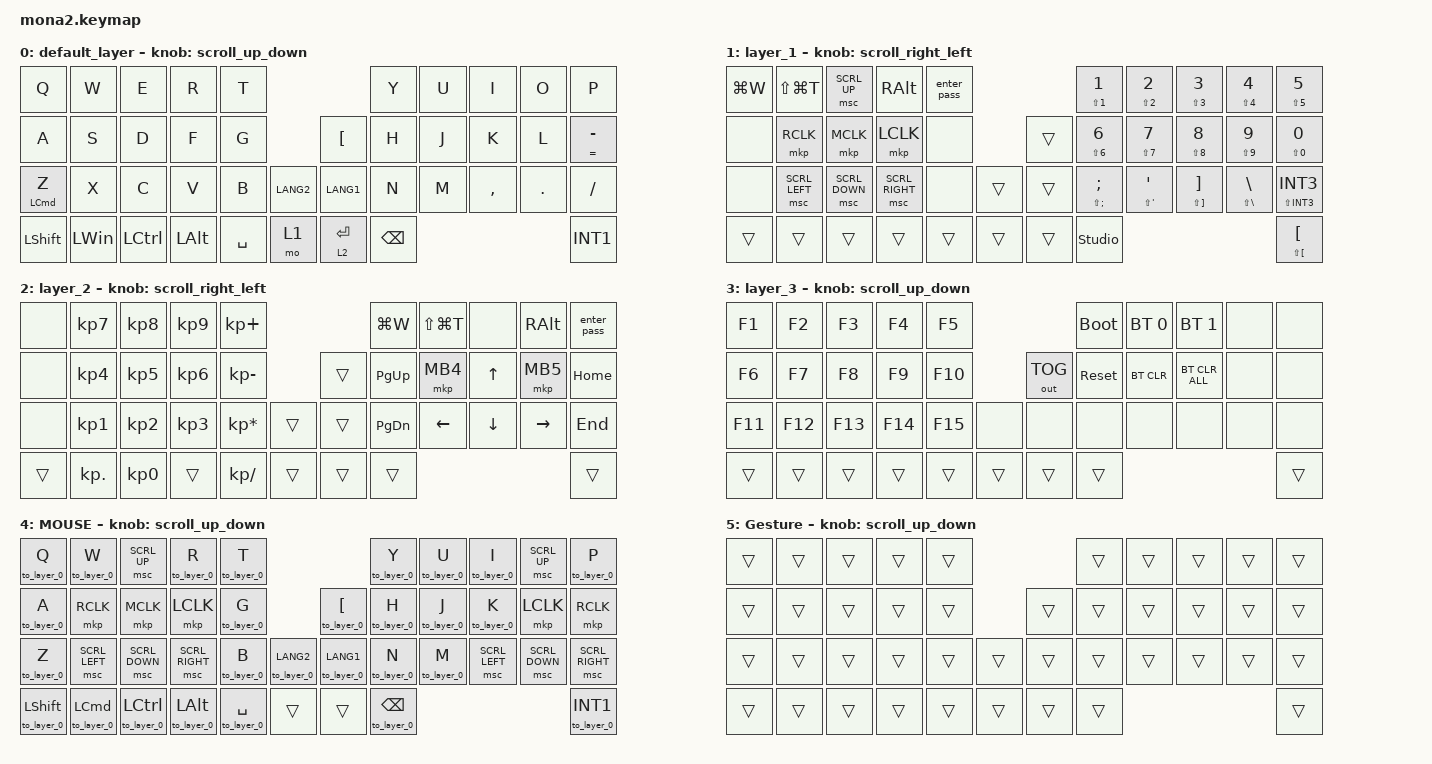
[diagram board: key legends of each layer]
#include <input/processors.dtsi>
#include <dt-bindings/zmk/input_transform.h>
#include <zephyr/dt-bindings/input/input-event-codes.h>
#include <behaviors.dtsi>
#include <dt-bindings/zmk/bt.h>
#include <dt-bindings/zmk/keys.h>
#include <dt-bindings/zmk/outputs.h>
#include <dt-bindings/zmk/pointing.h>

#define ZMK_POINTING_DEFAULT_SCRL_VAL 100
#define MOUSE 4
#define GESTURE 5

&mt {
    flavor = "tap-preferred";
    quick-tap-ms = <0>;
    tapping-term-ms = <150>;
};

&lt {
    quick-tap-ms = <300>;
    flavor = "tap-preferred";
};

/ {
    combos {
        compatible = "zmk,combos";

        layer4_ESC {
            bindings = <&kp ESC>;
            key-positions = <0 1>;
        };

        tab {
            bindings = <&kp TAB>;
            key-positions = <11 10>;
        };

        eisu {
            bindings = <&kp LANG2>;
            key-positions = <24 25>;
        };

        kana {
            bindings = <&kp LANG1>;
            key-positions = <28 29>;
        };

        scroll_layer {
            bindings = <&mo 3>;
            key-positions = <19 20>;
        };

        gesture_layer {
            bindings = <&mo GESTURE>;
            key-positions = <31 32>;
        };
    };

    macros {
        to_layer_0: to_layer_0 {
            compatible = "zmk,behavior-macro-one-param";
            #binding-cells = <1>;
            bindings = <&to 0 &macro_param_1to1 &kp MACRO_PLACEHOLDER>;
            label = "TO_LAYER_0";
        };

        enter_pass: enter_pass {
            compatible = "zmk,behavior-macro";
            #binding-cells = <0>;
            bindings = <&none>; // ENTER_PASS_PH
            label = "ENTER_PASS";
        };
    };

    behaviors {
        lt_to_layer_0: lt_to_layer_0 {
            compatible = "zmk,behavior-hold-tap";
            label = "LAYER_TAP_TO_0";
            bindings = <&mo>, <&to_layer_0>;

            #binding-cells = <2>;
            tapping-term-ms = <200>;
        };

        scroll_up_down: mouse_wheel_up_down {
            compatible = "zmk,behavior-sensor-rotate";
            #sensor-binding-cells = <0>;
            bindings = <&msc SCRL_UP>, <&msc SCRL_DOWN>;

            tap-ms = <20>;
        };

        scroll_right_left: mouse_wheel_right_left {
            compatible = "zmk,behavior-sensor-rotate";
            #sensor-binding-cells = <0>;
            bindings = <&msc SCRL_RIGHT>, <&msc SCRL_LEFT>;

            tap-ms = <20>;
        };
    };

    keymap {
        compatible = "zmk,keymap";

        default_layer {
            bindings = <
&kp Q               &kp W         &kp E             &kp R         &kp T                                           &kp Y          &kp U  &kp I      &kp O    &kp P
&kp A               &kp S         &kp D             &kp F         &kp G                   &kp LBKT                &kp H          &kp J  &kp K      &kp L    &mt EQUAL MINUS
&mt LEFT_COMMAND Z  &kp X         &kp C             &kp V         &kp B      &kp LANG2    &kp LANG1               &kp N          &kp M  &kp COMMA  &kp DOT  &kp SLASH
&kp LEFT_SHIFT      &kp LEFT_WIN  &kp LEFT_CONTROL  &kp LEFT_ALT  &kp SPACE  &mo 1        &lt_to_layer_0 2 ENTER  &kp BACKSPACE                             &kp INT1
            >;

            sensor-bindings = <&scroll_up_down>;
        };

        layer_1 {
            bindings = <
&kp LG(W)  &kp LS(LG(T))   &msc SCRL_UP    &kp RIGHT_ALT    &enter_pass                    &mt LS(N1) N1      &mt LS(N2) N2    &mt LS(N3) N3      &mt LS(N4) N4      &mt LS(N5) N5
&none      &mkp RCLK       &mkp MCLK       &mkp LCLK        &none                  &trans  &mt LS(N6) N6      &mt LS(N7) N7    &mt LS(N8) N8      &mt LS(N9) N9      &mt LS(N0) N0
&none      &msc SCRL_LEFT  &msc SCRL_DOWN  &msc SCRL_RIGHT  &none        &trans    &trans  &mt LS(SEMI) SEMI  &mt LS(SQT) SQT  &mt LS(RBKT) RBKT  &mt LS(BSLH) BSLH  &mt LS(INT3) INT3
&trans     &trans          &trans          &trans           &trans       &trans    &trans  &studio_unlock                                                            &mt LS(LBKT) LBKT
            >;

            sensor-bindings = <&scroll_right_left>;
        };

        layer_2 {
            bindings = <
&none   &kp KP_N7   &kp KP_N8  &kp KP_N9  &kp KP_PLUS                        &kp LG(W)  &kp LS(LG(T))   &none           &kp RIGHT_ALT    &enter_pass
&none   &kp KP_N4   &kp KP_N5  &kp KP_N6  &kp KP_MINUS               &trans  &kp PG_UP  &mkp MB4        &kp UP_ARROW    &mkp MB5         &kp HOME
&none   &kp KP_N1   &kp KP_N2  &kp KP_N3  &kp KP_MULTIPLY  &trans    &trans  &kp PG_DN  &kp LEFT_ARROW  &kp DOWN_ARROW  &kp RIGHT_ARROW  &kp END
&trans  &kp KP_DOT  &kp KP_N0  &trans     &kp KP_SLASH     &trans    &trans  &trans                                                      &trans
            >;

            sensor-bindings = <&scroll_right_left>;
        };

        layer_3 {
            bindings = <
&kp F1   &kp F2   &kp F3   &kp F4   &kp F5                           &bootloader  &bt BT_SEL 0  &bt BT_SEL 1    &none  &none
&kp F6   &kp F7   &kp F8   &kp F9   &kp F10            &out OUT_TOG  &sys_reset   &bt BT_CLR    &bt BT_CLR_ALL  &none  &none
&kp F11  &kp F12  &kp F13  &kp F14  &kp F15  &none     &none         &none        &none         &none           &none  &none
&trans   &trans   &trans   &trans   &trans   &trans    &trans        &trans                                            &trans
            >;

            sensor-bindings = <&scroll_up_down>;
        };

        MOUSE {
            bindings = <
&to_layer_0 Q           &to_layer_0 W             &msc SCRL_UP              &to_layer_0 R         &to_layer_0 T                                              &to_layer_0 Y          &to_layer_0 U  &to_layer_0 I   &msc SCRL_UP    &to_layer_0 P
&to_layer_0 A           &mkp RCLK                 &mkp MCLK                 &mkp LCLK             &to_layer_0 G                           &to_layer_0 LBKT   &to_layer_0 H          &to_layer_0 J  &to_layer_0 K   &mkp LCLK       &mkp RCLK
&to_layer_0 Z           &msc SCRL_LEFT            &msc SCRL_DOWN            &msc SCRL_RIGHT       &to_layer_0 B      &to_layer_0 LANG2    &to_layer_0 LANG1  &to_layer_0 N          &to_layer_0 M  &msc SCRL_LEFT  &msc SCRL_DOWN  &msc SCRL_RIGHT
&to_layer_0 LEFT_SHIFT  &to_layer_0 LEFT_COMMAND  &to_layer_0 LEFT_CONTROL  &to_layer_0 LEFT_ALT  &to_layer_0 SPACE  &trans               &trans             &to_layer_0 BACKSPACE                                                 &to_layer_0 INT1
            >;

            sensor-bindings = <&scroll_up_down>;
        };

        Gesture {
            bindings = <
&trans  &trans  &trans  &trans  &trans                    &trans  &trans  &trans  &trans  &trans
&trans  &trans  &trans  &trans  &trans            &trans  &trans  &trans  &trans  &trans  &trans
&trans  &trans  &trans  &trans  &trans  &trans    &trans  &trans  &trans  &trans  &trans  &trans
&trans  &trans  &trans  &trans  &trans  &trans    &trans  &trans                          &trans
            >;

            sensor-bindings = <&scroll_up_down>;
        };
    };

    conditional_layers { compatible = "zmk,conditional-layers"; };
};
